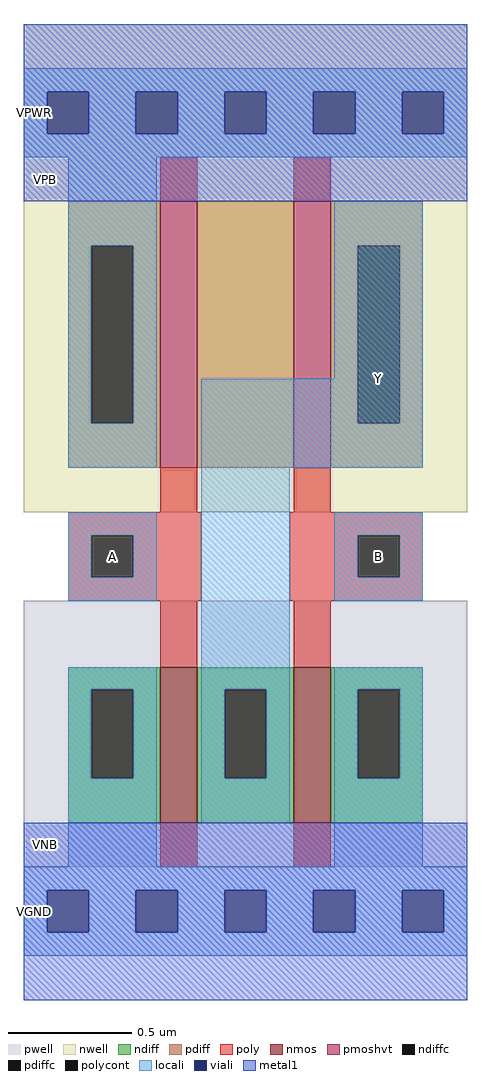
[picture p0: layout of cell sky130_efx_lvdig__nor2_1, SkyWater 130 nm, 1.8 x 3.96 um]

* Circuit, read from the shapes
.subckt sky130_efx_lvdig__nor2_1 A Y VPWR VGND VPB VNB B
XM1 Y A VGND VNB sky130_fd_pr__nfet_01v8 w=0.63 l=0.15
XM2 VGND B Y VNB sky130_fd_pr__nfet_01v8 w=0.63 l=0.15
XM3 n1 A VPWR VPB sky130_fd_pr__pfet_01v8_hvt w=1.08 l=0.15
XM4 Y B n1 VPB sky130_fd_pr__pfet_01v8_hvt w=1.08 l=0.15
.ends

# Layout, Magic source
magic
tech sky130A
magscale 1 2
<< nwell >>
rect 0 288 360 684
<< pwell >>
rect 0 0 360 216
<< poly >>
rect 36 269 144 288
rect 36 235 55 269
rect 89 235 144 269
rect 36 216 144 235
rect 216 269 324 288
rect 216 235 271 269
rect 305 235 324 269
rect 216 216 324 235
<< polycont >>
rect 55 235 89 269
rect 271 235 305 269
<< locali >>
rect 0 629 360 648
rect 0 595 19 629
rect 53 595 91 629
rect 125 595 163 629
rect 197 595 235 629
rect 269 595 307 629
rect 341 595 360 629
rect 0 576 360 595
rect 36 504 108 576
rect 252 396 324 504
rect 144 324 324 396
rect 36 269 108 288
rect 36 235 55 269
rect 89 235 108 269
rect 36 216 108 235
rect 144 144 216 324
rect 252 269 324 288
rect 252 235 271 269
rect 305 235 324 269
rect 252 216 324 235
rect 36 0 108 72
rect 252 0 324 72
rect 0 -19 360 0
rect 0 -53 19 -19
rect 53 -53 91 -19
rect 125 -53 163 -19
rect 197 -53 235 -19
rect 269 -53 307 -19
rect 341 -53 360 -19
rect 0 -72 360 -53
<< viali >>
rect 19 595 53 629
rect 91 595 125 629
rect 163 595 197 629
rect 235 595 269 629
rect 307 595 341 629
rect 19 -53 53 -19
rect 91 -53 125 -19
rect 163 -53 197 -19
rect 235 -53 269 -19
rect 307 -53 341 -19
<< metal1 >>
rect 0 629 360 684
rect 0 595 19 629
rect 53 595 91 629
rect 125 595 163 629
rect 197 595 235 629
rect 269 595 307 629
rect 341 595 360 629
rect 0 540 360 595
rect 0 -19 360 36
rect 0 -53 19 -19
rect 53 -53 91 -19
rect 125 -53 163 -19
rect 197 -53 235 -19
rect 269 -53 307 -19
rect 341 -53 360 -19
rect 0 -108 360 -53
use nmos_n3f5_f1_l150  nmos_n3f5_f1_l150_0
transform 1 0 72 0 1 36
box -72 -36 180 180
use nmos_n3f5_f1_l150  nmos_n3f5_f1_l150_1
transform 1 0 180 0 1 36
box -72 -36 180 180
use pmos_n6_f2_l150_hvt_fnf  pmos_n6_f2_l150_hvt_fnf_0
transform 1 0 72 0 1 324
box -72 -36 288 252
<< labels >>
flabel locali 36 216 108 288 0 FreeSans 288 0 0 0 A
port 1 nsew signal input
flabel metal1 0 576 18 648 0 FreeSans 288 0 0 0 VPWR
port 4 nsew power bidirectional
flabel metal1 0 -72 18 0 0 FreeSans 288 0 0 0 VGND
port 5 nsew ground bidirectional
flabel nwell 0 540 36 576 0 FreeSans 288 0 0 0 VPB
port 6 nsew power bidirectional
flabel pwell 0 0 36 36 0 FreeSans 288 0 0 0 VNB
port 7 nsew ground bidirectional
flabel locali 252 360 324 432 0 FreeSans 288 0 0 0 Y
port 3 nsew signal output
flabel locali 252 216 324 288 0 FreeSans 288 0 0 0 B
port 8 nsew signal input
<< properties >>
string FIXED_BBOX 0 -36 360 612
<< end >>

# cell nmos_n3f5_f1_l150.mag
magic
tech sky130A
magscale 1 2
<< pwell >>
rect -72 -36 180 180
<< nmos >>
rect 39 0 69 126
<< ndiff >>
rect -36 108 39 126
rect -36 36 -17 108
rect 17 36 39 108
rect -36 0 39 36
rect 69 108 144 126
rect 69 36 91 108
rect 125 36 144 108
rect 69 0 144 36
<< ndiffc >>
rect -17 36 17 108
rect 91 36 125 108
<< poly >>
rect 39 126 69 180
rect 39 -36 69 0
<< locali >>
rect -36 108 36 126
rect -36 36 -17 108
rect 17 36 36 108
rect -36 0 36 36
rect 72 108 144 126
rect 72 36 91 108
rect 125 36 144 108
rect 72 0 144 36
<< labels >>
rlabel locali 0 18 0 18 0 S0
port 1 nsew
rlabel locali 108 18 108 18 0 D0
port 2 nsew
<< end >>

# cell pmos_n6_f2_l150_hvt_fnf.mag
magic
tech sky130A
magscale 1 2
<< nwell >>
rect -72 -36 288 252
<< pmoshvt >>
rect 39 0 69 216
rect 147 0 177 216
<< pdiff >>
rect -36 180 39 216
rect -36 36 -17 180
rect 17 36 39 180
rect -36 0 39 36
rect 69 0 147 216
rect 177 180 252 216
rect 177 36 199 180
rect 233 36 252 180
rect 177 0 252 36
<< pdiffc >>
rect -17 36 17 180
rect 199 36 233 180
<< poly >>
rect 39 216 69 252
rect 147 216 177 252
rect 39 -36 69 0
rect 147 -36 177 0
<< locali >>
rect -36 180 36 216
rect -36 36 -17 180
rect 17 36 36 180
rect -36 0 36 36
rect 180 180 252 216
rect 180 36 199 180
rect 233 36 252 180
rect 180 0 252 36
<< labels >>
rlabel locali 0 18 0 18 0 S0
port 1 nsew
rlabel locali 216 18 216 18 0 D0
port 2 nsew
<< end >>
